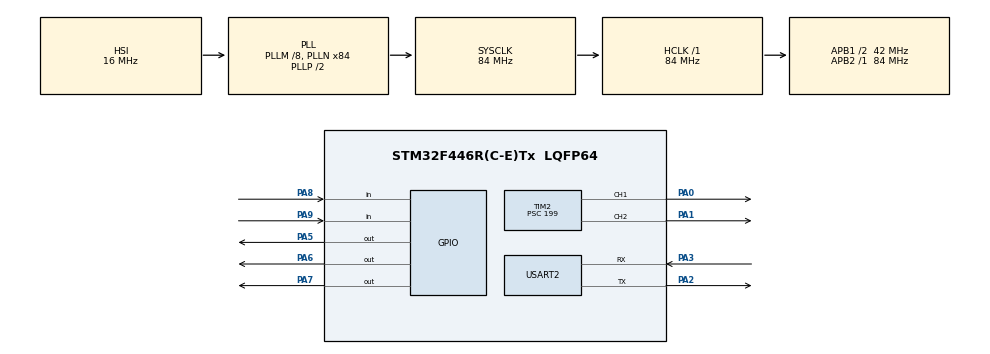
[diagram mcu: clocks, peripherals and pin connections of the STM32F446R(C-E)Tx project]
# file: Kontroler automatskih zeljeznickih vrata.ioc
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Mcu.Family=STM32F4
Mcu.Name=STM32F446R(C-E)Tx
Mcu.Package=LQFP64
NVIC.PriorityGroup=NVIC_PRIORITYGROUP_4
NVIC.TIM3_IRQn=true\:0\:0\:false\:false\:true\:true\:true\:true
NVIC.USART2_IRQn=true\:0\:0\:false\:false\:true\:true\:true\:true
PA0-WKUP.Signal=S_TIM2_CH1_ETR
PA1.Signal=S_TIM2_CH2
PA13.Mode=Serial_Wire
PA13.Signal=SYS_JTMS-SWDIO
PA14.Mode=Serial_Wire
PA14.Signal=SYS_JTCK-SWCLK
PA2.Mode=Asynchronous
PA2.Signal=USART2_TX
PA3.Mode=Asynchronous
PA3.Signal=USART2_RX
PA5.Signal=GPIO_Output
PA6.Signal=GPIO_Output
PA7.Signal=GPIO_Output
PA8.Signal=GPIO_Input
PA9.Signal=GPIO_Input
PH0-OSC_IN.Mode=HSE-External-Oscillator
PH0-OSC_IN.Signal=RCC_OSC_IN
PH1-OSC_OUT.Mode=HSE-External-Oscillator
PH1-OSC_OUT.Signal=RCC_OSC_OUT
ProjectManager.HeapSize=0x200
ProjectManager.StackSize=0x400
ProjectManager.TargetToolchain=STM32CubeIDE
RCC.AHBFreq_Value=84000000
RCC.APB1CLKDivider=RCC_HCLK_DIV2
RCC.APB1Freq_Value=42000000
RCC.APB1TimFreq_Value=84000000
RCC.APB2Freq_Value=84000000
RCC.APB2TimFreq_Value=84000000
RCC.CortexFreq_Value=84000000
RCC.HCLKFreq_Value=84000000
RCC.PLLM=8
RCC.PLLN=84
RCC.SYSCLKFreq_VALUE=84000000
RCC.SYSCLKSource=RCC_SYSCLKSOURCE_PLLCLK
RCC.USBFreq_Value=84000000
RCC.VCOOutputFreq_Value=168000000
SH.S_TIM2_CH1_ETR.0=TIM2_CH1,PWM Generation1 CH1
SH.S_TIM2_CH2.0=TIM2_CH2,PWM Generation2 CH2
TIM2.Channel-PWM\ Generation1\ CH1=TIM_CHANNEL_1
TIM2.Channel-PWM\ Generation2\ CH2=TIM_CHANNEL_2
TIM2.Period=8399
TIM2.Prescaler=199
TIM3.Period=999
TIM3.Prescaler=41999
USART2.VirtualMode=VM_ASYNC
VP_TIM2_VS_ClockSourceINT.Mode=Internal
VP_TIM3_VS_ClockSourceINT.Mode=Internal
board=custom

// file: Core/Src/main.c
/* USER CODE BEGIN Header */
/**
  ******************************************************************************
  * @file           : main.c
  * @brief          : Main program body
  ******************************************************************************
  * @attention
  *
  * Copyright (c) 2025 STMicroelectronics.
  * All rights reserved.
  *
  * This software is licensed under terms that can be found in the LICENSE file
  * in the root directory of this software component.
  * If no LICENSE file comes with this software, it is provided AS-IS.
  *
  ******************************************************************************
  */
/* USER CODE END Header */
#include "main.h"
#include "tim.h"
#include "usart.h"
#include "gpio.h"

/* USER CODE BEGIN PV */
int ON;
int OFF;
int BLOCK;
volatile int BLINK;
/* USER CODE END PV */

void SystemClock_Config(void);

/* USER CODE BEGIN 0 */
//Set angle
void Set_Servo_Angle(TIM_HandleTypeDef *htim, uint32_t channel, uint8_t angle){
	//Degrees (0-180) to pulse width (210-1050)
	uint32_t pulse_length=210+(angle*(1050-210)/180);
	__HAL_TIM_SET_COMPARE(htim, channel, pulse_length);
}
//Automatically called every time the timer reaches the 500 ms period
void HAL_TIM_PeriodElapsedCallback(TIM_HandleTypeDef *htim) {
    if(htim->Instance==TIM3) {
        if(BLINK==1){
        	//Initialize LEDs in opposite states for alternating blink
        	HAL_GPIO_WritePin(GPIOA, GPIO_PIN_5, GPIO_PIN_SET);
        	HAL_GPIO_WritePin(GPIOA, GPIO_PIN_6, GPIO_PIN_RESET);
        	HAL_GPIO_WritePin(GPIOA, GPIO_PIN_7, GPIO_PIN_SET);
            //Alternately blink
            HAL_GPIO_TogglePin(GPIOA, GPIO_PIN_5);
            HAL_GPIO_TogglePin(GPIOA, GPIO_PIN_6);
            HAL_GPIO_TogglePin(GPIOA, GPIO_PIN_7);
        }else{
            //Both LEDs OFF if BLOCK is 0 (or anything else)
            HAL_GPIO_WritePin(GPIOA, GPIO_PIN_5, GPIO_PIN_RESET);
            HAL_GPIO_WritePin(GPIOA, GPIO_PIN_6, GPIO_PIN_RESET);
            HAL_GPIO_WritePin(GPIOA, GPIO_PIN_7, GPIO_PIN_RESET);
        }
    }
}
/* USER CODE END 0 */

int main(void)
{

  /* MCU Configuration--------------------------------------------------------*/

  /* Reset of all peripherals, Initializes the Flash interface and the Systick. */
  HAL_Init();

  /* Configure the system clock */
  SystemClock_Config();

  /* Initialize all configured peripherals */
  MX_GPIO_Init();
  MX_TIM2_Init();
  MX_TIM3_Init();
  MX_USART2_UART_Init();
  /* USER CODE BEGIN 2 */
  HAL_TIM_PWM_Start(&htim2, TIM_CHANNEL_1);
  HAL_TIM_PWM_Start(&htim2, TIM_CHANNEL_2);
  /* USER CODE END 2 */

  /* Infinite loop */
  while (1)
  {

    /* USER CODE BEGIN 3 */

	  //Read sensors
	  ON=HAL_GPIO_ReadPin(GPIOA, GPIO_PIN_8);
	  OFF=HAL_GPIO_ReadPin(GPIOA, GPIO_PIN_9);

	  //Ramp up in beginning
	  BLOCK=0;

	  //Sensor detecting upcoming train
	  if(ON==1){
	  	  BLOCK=1;
	  }
	  if(OFF==1){
	  	  BLOCK=0;
	  }

	  //Blocking road
	  if(BLOCK==1){
		  BLINK=1;
		  HAL_Delay(2000);
		  Set_Servo_Angle(&htim2, TIM_CHANNEL_1, 120);
		  Set_Servo_Angle(&htim2, TIM_CHANNEL_2, 120);
	  }
	  else if(BLOCK==0){
		  BLINK=0;
		  Set_Servo_Angle(&htim2, TIM_CHANNEL_1, 30);
		  Set_Servo_Angle(&htim2, TIM_CHANNEL_2, 30);
	  }

  }
  /* USER CODE END 3 */
}

void SystemClock_Config(void)
{
  RCC_OscInitTypeDef RCC_OscInitStruct = {0};
  RCC_ClkInitTypeDef RCC_ClkInitStruct = {0};

  /** Configure the main internal regulator output voltage
  */
  __HAL_RCC_PWR_CLK_ENABLE();
  __HAL_PWR_VOLTAGESCALING_CONFIG(PWR_REGULATOR_VOLTAGE_SCALE3);

  /** Initializes the RCC Oscillators according to the specified parameters
  * in the RCC_OscInitTypeDef structure.
  */
  RCC_OscInitStruct.OscillatorType = RCC_OSCILLATORTYPE_HSI;
  RCC_OscInitStruct.HSIState = RCC_HSI_ON;
  RCC_OscInitStruct.HSICalibrationValue = RCC_HSICALIBRATION_DEFAULT;
  RCC_OscInitStruct.PLL.PLLState = RCC_PLL_ON;
  RCC_OscInitStruct.PLL.PLLSource = RCC_PLLSOURCE_HSI;
  RCC_OscInitStruct.PLL.PLLM = 8;
  RCC_OscInitStruct.PLL.PLLN = 84;
  RCC_OscInitStruct.PLL.PLLP = RCC_PLLP_DIV2;
  RCC_OscInitStruct.PLL.PLLQ = 2;
  RCC_OscInitStruct.PLL.PLLR = 2;
  if (HAL_RCC_OscConfig(&RCC_OscInitStruct) != HAL_OK)
  {
    Error_Handler();
  }

  /** Initializes the CPU, AHB and APB buses clocks
  */
  RCC_ClkInitStruct.ClockType = RCC_CLOCKTYPE_HCLK|RCC_CLOCKTYPE_SYSCLK
                              |RCC_CLOCKTYPE_PCLK1|RCC_CLOCKTYPE_PCLK2;
  RCC_ClkInitStruct.SYSCLKSource = RCC_SYSCLKSOURCE_PLLCLK;
  RCC_ClkInitStruct.AHBCLKDivider = RCC_SYSCLK_DIV1;
  RCC_ClkInitStruct.APB1CLKDivider = RCC_HCLK_DIV2;
  RCC_ClkInitStruct.APB2CLKDivider = RCC_HCLK_DIV1;

  if (HAL_RCC_ClockConfig(&RCC_ClkInitStruct, FLASH_LATENCY_2) != HAL_OK)
  {
    Error_Handler();
  }
}

void Error_Handler(void)
{
  __disable_irq();
  while (1)
  {
  }
}
